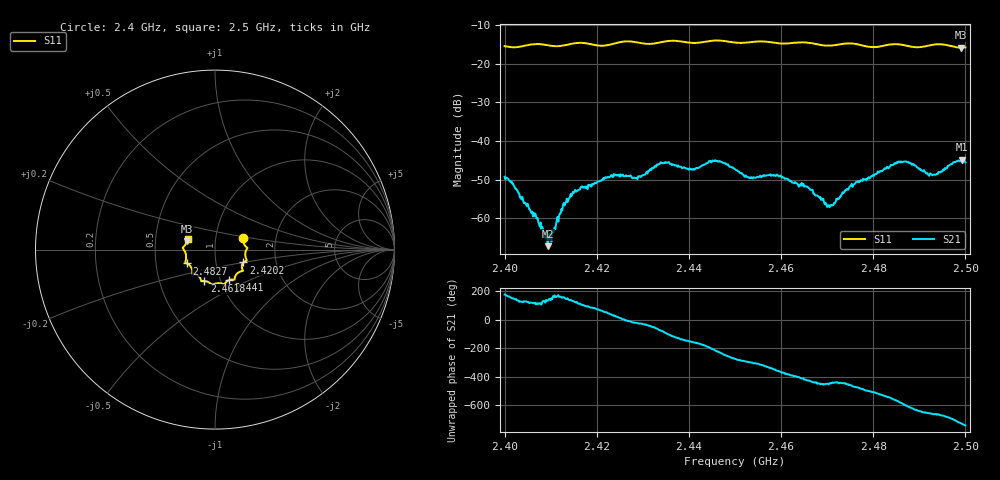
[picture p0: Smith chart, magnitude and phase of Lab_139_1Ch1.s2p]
# Hz S RI R 50
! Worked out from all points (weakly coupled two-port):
!   601 points, 2.4 GHz to 2.5 GHz, reference 50 ohm
!   highest |S21| = -44.82 dB at 2.4992 GHz (marker M1); lowest = -67.3 dB at 2.4093 GHz (marker M2)
!   lowest |S11| = -15.8 dB at 2.499 GHz (marker M3), VSWR 1.39, Z = 36.4 + j3.49 ohm
!   |S11| at or under -10 dB: start of sweep to end of sweep
!   S12 and S22 are empty: the file has one direction only
!   S11 on the Smith chart (normalised r, x): 2.4 GHz: 1.36, +0.18; 2.4202 GHz: 1.36, -0.20; 2.441 GHz: 1.10, -0.39; 2.4618 GHz: 0.84, -0.30; 2.4827 GHz: 0.72, -0.12; 2.5 GHz: 0.73, +0.09
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2.4e9  0.1582 0.0627  -0.00344 0.00013  0 0  0 0
2.409333e9  0.175 -0.000713  -0.000301 0.000311  0 0  0 0
2.410667e9  0.1698 -0.0129  -0.000613 0.000231  0 0  0 0
2.413167e9  0.17 -0.0411  -0.00135 0.000773  0 0  0 0
2.416667e9  0.1775 -0.0607  -0.000799 0.00241  0 0  0 0
2.420167e9  0.1584 -0.0714  0.000864 0.00288  0 0  0 0
2.429e9  0.1455 -0.1209  0.00321 -0.00136  0 0  0 0
2.433333e9  0.1118 -0.1511  0.00202 -0.00459  0 0  0 0
2.441e9  0.0784 -0.1698  -0.004 -0.00169  0 0  0 0
2.445667e9  0.0509 -0.1945  -0.00472 0.00309  0 0  0 0
2.45e9  0.0282 -0.1871  0.000265 0.00429  0 0  0 0
2.461833e9  -0.0593 -0.1755  0.00277 -0.00125  0 0  0 0
2.466667e9  -0.0786 -0.1682  0.000623 -0.00222  0 0  0 0
2.470833e9  -0.1029 -0.1391  0.00013 -0.00149  0 0  0 0
2.475333e9  -0.1272 -0.1332  -0.000539 -0.00272  0 0  0 0
2.482667e9  -0.1563 -0.0773  -0.00434 -0.000506  0 0  0 0
2.483333e9  -0.1606 -0.0754  -0.00441 0.000139  0 0  0 0
2.487167e9  -0.1626 -0.0582  -0.00268 0.0047  0 0  0 0
2.493167e9  -0.1782 0.00527  0.00195 0.00312  0 0  0 0
2.499e9  -0.1555 0.0467  0.0055 -0.000449  0 0  0 0
2.499167e9  -0.1549 0.049  0.0057 -0.00069  0 0  0 0
2.5e9  -0.1523 0.0608  0.00496 -0.00185  0 0  0 0
